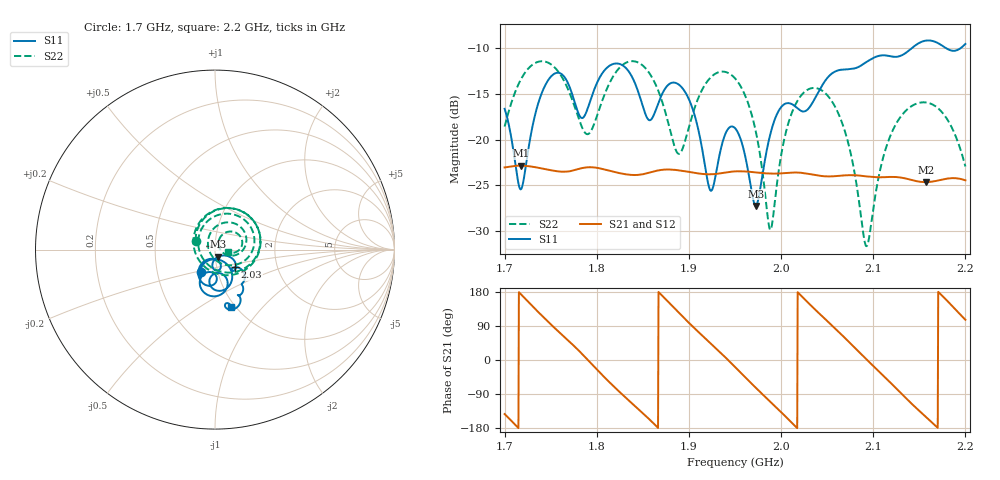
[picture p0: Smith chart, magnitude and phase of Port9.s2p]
# Hz S RI R 50
! CMT, CMT808U, 21440046, 21.4.3/4
! Date: 11/20/2025 11:37:22 PM
! Data: Format (Calibration Info)
! Freq	S11:Re/Im(F2)	S41:Re/Im(F2)	S14:Re/Im(F2)	S44:Re/Im(F2)
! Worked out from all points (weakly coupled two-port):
!   1001 points, 1.7 GHz to 2.2 GHz, reference 50 ohm
!   highest |S21| = -22.84 dB at 1.718 GHz (marker M1); lowest = -24.6 dB at 2.158 GHz (marker M2)
!   lowest |S11| = -27.2 dB at 1.972 GHz (marker M3), VSWR 1.09, Z = 51.7 - j4.08 ohm
!   |S11| at or under -10 dB: start of sweep to 2.142 GHz; 2.179 GHz to 2.195 GHz (16.17 MHz wide, 0.739 % of centre)
!   |S22| runs from -31.6 to -11.4 dB; largest |S21 - S12| = 0.00092
!   S11 on the Smith chart (normalised r, x): 1.7 GHz: 0.83, -0.21; 2.03 GHz: 1.23, -0.25; 2.2 GHz: 0.96, -0.69
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1.7e9  -0.0808 -0.1231  -0.056 -0.0428  -0.0567 -0.0424  -0.1077 0.0478
1.7175e9  -0.000244 -0.0535  -0.0717 0.0076  -0.0719 0.00838  -0.00999 0.2122
1.75e9  0.0746 -0.2071  -0.00517 0.0679  -0.0045 0.0682  0.254 0.047
1.7835e9  0.00869 -0.131  0.0667 0.0208  0.0671 0.0201  -0.0344 -0.1132
1.802e9  0.0694 -0.2011  0.0607 -0.0348  0.0605 -0.0356  -0.116 0.0838
1.823e9  -0.0181 -0.2595  0.0111 -0.065  0.0104 -0.0653  0.0656 0.2323
1.846e9  -0.079 -0.1572  -0.0426 -0.0481  -0.0433 -0.0478  0.2507 0.0759
1.857e9  -0.0254 -0.1251  -0.0605 -0.0265  -0.0609 -0.0259  0.2268 -0.0427
1.867e9  0.00993 -0.1589  -0.068 0.000558  -0.0681 0.00135  0.1431 -0.1149
1.8895e9  -0.0691 -0.1865  -0.0374 0.0567  -0.0369 0.0573  -0.0753 -0.0364
1.924e9  -0.00827 -0.0519  0.0474 0.0441  0.048 0.0436  0.0963 0.1973
1.95e9  0.0018 -0.1155  0.0637 -0.0211  0.0636 -0.0219  0.2156 0.0154
1.9725e9  0.0185 -0.0393  0.0192 -0.0634  0.0184 -0.0638  0.0693 -0.087
1.9885e9  0.0959 -0.0495  -0.0231 -0.061  -0.0239 -0.0609  -0.03 -0.0118
2.007e9  0.1094 -0.1143  -0.0593 -0.0287  -0.0598 -0.0279  -0.00593 0.1185
2.0305e9  0.1129 -0.0978  -0.0553 0.0341  -0.0549 0.0348  0.1368 0.1306
2.0335e9  0.1228 -0.0982  -0.0503 0.0404  -0.0498 0.0411  0.1501 0.1183
2.0665e9  0.1547 -0.185  0.0271 0.0576  0.0278 0.0573  0.1187 -0.0293
2.0925e9  0.1571 -0.2137  0.063 0.00223  0.0631 0.00147  0.0246 0.00912
2.117e9  0.13 -0.255  0.0353 -0.0516  0.0347 -0.0521  0.0474 0.0884
2.1575e9  0.1111 -0.329  -0.0512 -0.0286  -0.0515 -0.0279  0.1502 0.0537
2.2e9  0.0909 -0.3203  -0.0167 0.0576  -0.016 0.0578  0.0701 -0.0131
